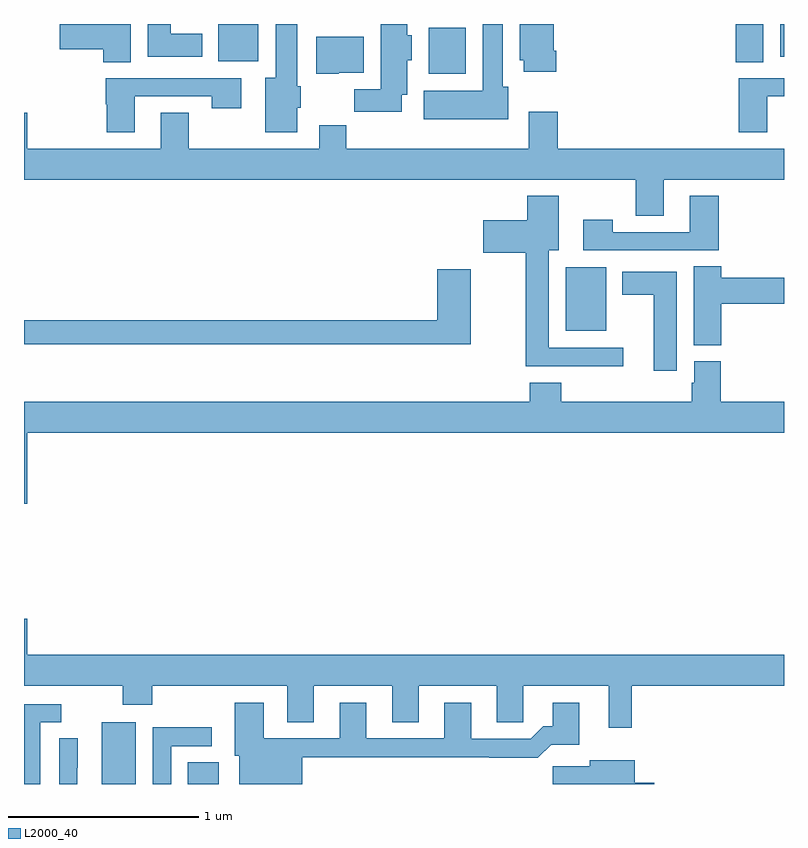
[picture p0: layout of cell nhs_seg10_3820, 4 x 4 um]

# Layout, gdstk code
import gdstk
lib = gdstk.Library(unit=1e-6, precision=1e-09)
def R(c, l, rs):  # rectangles x0, y0, x1, y1
    for r in rs: c.add(gdstk.rectangle(r[:2], r[2:], *l))
def P(c, l, *ps):  # polygons
    for p in ps: c.add(gdstk.Polygon(p, *l))
L2000_40 = (2000, 40)

nhs_seg10_3820 = lib.new_cell('nhs_seg10_3820')
R(nhs_seg10_3820, L2000_40, [(321.41,1266.5,321.589,1266.826), (321.863,1266.5,322.024,1266.614), (323.852,1268.885,324.064,1269.22), (323.129,1270.238,323.326,1270.48), (324.746,1270.3,324.892,1270.5), (322.022,1270.304,322.234,1270.5), (324.98,1270.328,325,1270.5)])
P(nhs_seg10_3820, L2000_40, [(321.937,1270.45),(321.772,1270.45),(321.772,1270.5),(321.65,1270.5),(321.65,1270.328),(321.937,1270.328)],
  [(321.562,1270.5),(321.188,1270.5),(321.188,1270.367),(321.416,1270.367),(321.416,1270.3),(321.562,1270.3)],
  [(322.438,1270.059),(322.456,1270.059),(322.456,1270.173),(322.438,1270.173),(322.438,1270.5),(322.325,1270.5),(322.325,1270.216),(322.271,1270.216),(322.271,1269.93),(322.438,1269.93)],
  [(323.548,1270.17),(323.521,1270.17),(323.521,1270.5),(323.414,1270.5),(323.414,1270.15),(323.105,1270.15),(323.105,1269.998),(323.548,1269.998)],
  [(322.987,1270.127),(323.017,1270.127),(323.017,1270.308),(323.041,1270.308),(323.041,1270.44),(323.017,1270.44),(323.017,1270.5),(322.877,1270.5),(322.877,1270.156),(322.738,1270.156),(322.738,1270.038),(322.987,1270.038)],
  [(323.801,1270.36),(323.788,1270.36),(323.788,1270.5),(323.609,1270.5),(323.609,1270.308),(323.63,1270.308),(323.63,1270.248),(323.801,1270.248)],
  [(322.656,1270.244),(322.789,1270.244),(322.789,1270.432),(322.538,1270.432),(322.538,1270.238),(322.656,1270.238)],
  [(321.583,1270.119),(321.988,1270.119),(321.988,1270.056),(322.144,1270.056),(322.144,1270.215),(321.431,1270.215),(321.431,1270.077),(321.436,1270.077),(321.436,1269.93),(321.583,1269.93)],
  [(324.913,1270.119),(325,1270.119),(325,1270.215),(324.761,1270.215),(324.761,1269.93),(324.913,1269.93)],
  [(324.367,1269.68),(325,1269.68),(325,1269.844),(323.81,1269.844),(323.81,1270.039),(323.657,1270.039),(323.657,1269.844),(322.697,1269.844),(322.697,1269.968),(322.553,1269.968),(322.553,1269.844),(321.867,1269.844),(321.867,1270.034),(321.719,1270.034),(321.719,1269.844),(321.016,1269.844),(321.016,1270.033),(321,1270.033),(321,1269.68),(324.22,1269.68),(324.22,1269.49),(324.367,1269.49)],
  [(324.154,1268.796),(323.761,1268.796),(323.761,1269.308),(323.815,1269.308),(323.815,1269.595),(323.648,1269.595),(323.648,1269.466),(323.418,1269.466),(323.418,1269.296),(323.641,1269.296),(323.641,1268.699),(324.154,1268.699)],
  [(324.656,1269.595),(324.503,1269.595),(324.503,1269.405),(324.099,1269.405),(324.099,1269.469),(323.943,1269.469),(323.943,1269.309),(324.656,1269.309)],
  [(324.671,1269.028),(325,1269.028),(325,1269.164),(324.671,1269.164),(324.671,1269.224),(324.524,1269.224),(324.524,1268.809),(324.671,1268.809)],
  [(323.352,1269.208),(323.174,1269.208),(323.174,1268.942),(321,1268.942),(321,1268.814),(323.352,1268.814)],
  [(324.436,1269.196),(324.149,1269.196),(324.149,1269.074),(324.314,1269.074),(324.314,1268.676),(324.436,1268.676)],
  [(321.016,1268.348),(325,1268.348),(325,1268.512),(324.668,1268.512),(324.668,1268.724),(324.527,1268.724),(324.527,1268.613),(324.515,1268.613),(324.515,1268.512),(323.828,1268.512),(323.828,1268.611),(323.663,1268.611),(323.663,1268.512),(321,1268.512),(321,1267.974),(321.016,1267.974)],
  [(324.199,1267.016),(325,1267.016),(325,1267.18),(321.016,1267.18),(321.016,1267.369),(321,1267.369),(321,1267.016),(321.52,1267.016),(321.52,1266.917),(321.675,1266.917),(321.675,1267.016),(322.385,1267.016),(322.385,1266.826),(322.525,1266.826),(322.525,1267.016),(322.937,1267.016),(322.937,1266.826),(323.077,1266.826),(323.077,1267.016),(323.489,1267.016),(323.489,1266.826),(323.628,1266.826),(323.628,1267.016),(324.077,1267.016),(324.077,1266.795),(324.199,1266.795)],
  [(322.465,1266.64),(323.449,1266.64),(323.449,1266.638),(323.705,1266.638),(323.774,1266.707),(323.923,1266.707),(323.923,1266.928),(323.783,1266.928),(323.783,1266.805),(323.734,1266.805),(323.667,1266.738),(323.353,1266.738),(323.353,1266.928),(323.213,1266.928),(323.213,1266.741),(322.801,1266.741),(322.801,1266.928),(322.661,1266.928),(322.661,1266.741),(322.261,1266.741),(322.261,1266.928),(322.109,1266.928),(322.109,1266.648),(322.133,1266.648),(322.133,1266.5),(322.465,1266.5)],
  [(321.085,1266.825),(321.196,1266.825),(321.196,1266.921),(321,1266.921),(321,1266.5),(321.085,1266.5)],
  [(321.774,1266.699),(321.988,1266.699),(321.988,1266.798),(321.678,1266.798),(321.678,1266.5),(321.774,1266.5)],
  [(321.281,1266.586),(321.282,1266.586),(321.282,1266.74),(321.186,1266.74),(321.186,1266.5),(321.281,1266.5)],
  [(324.318,1266.506),(324.214,1266.506),(324.214,1266.625),(323.978,1266.625),(323.978,1266.593),(323.784,1266.593),(323.784,1266.5),(324.318,1266.5)])

lib.write_gds('nhs_seg10_3820.gds')
